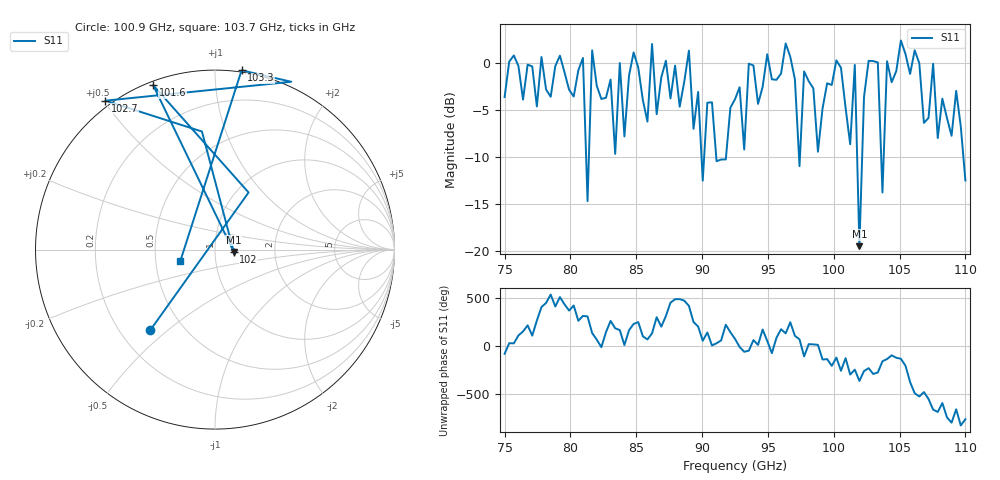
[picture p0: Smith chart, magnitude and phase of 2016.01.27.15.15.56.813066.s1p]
!Created with skrf (http://scikit-rf.org).
# GHz S RI R 50.0
!freq ReS11 ImS11
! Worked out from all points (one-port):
!   101 points, 75 GHz to 110 GHz, reference 50 ohm
!   lowest |S11| = -19.5 dB at 102 GHz (marker M1), VSWR 1.24, Z = 61.7 - j1.62 ohm
!   |S11| at or under -10 dB: 81.19191 GHz to 81.40266 GHz (210.8 MHz wide, 0.259 % of centre); 89.95617 GHz to 90.15677 GHz (200.6 MHz wide, 0.223 % of centre); 91.07 GHz to 91.82 GHz (743 MHz wide, 0.813 % of centre) (the widest 3 of 7)
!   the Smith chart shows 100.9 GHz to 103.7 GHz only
!   S11 on the Smith chart (normalised r, x): 100.9 GHz: 0.32, -0.44; 101.6 GHz: 0.02, +0.69; 102 GHz: 1.23, -0.03; 102.7 GHz: -0.02, +0.51; 103.3 GHz: -0.01, +1.16; 103.7 GHz: 0.67, -0.09
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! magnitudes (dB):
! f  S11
! 75 GHz  -3.6
! 79.55 GHz  -1.0
! 80.95 GHz  0.6
! 81.3 GHz  -14.7
! 81.65 GHz  1.4
! 83.4 GHz  -9.7
! 83.75 GHz  0.0
! 84.1 GHz  -7.8
! 84.8 GHz  1.2
! 88.3 GHz  -4.6
! 89 GHz  1.3
! 90.05 GHz  -12.5
! 92.5 GHz  -3.8
! 97.05 GHz  -1.7
! 97.4 GHz  -11.0
! 97.75 GHz  -0.9
! 98.8 GHz  -9.4
! 100.9 GHz  -4.8
! 101.2 GHz  -8.7
! 101.6 GHz  -0.2
! 102 GHz  -19.5
! 102.7 GHz  0.3
! 103.3 GHz  0.1
! 103.7 GHz  -13.8
! 104 GHz  0.2
! 105.8 GHz  -1.1
! 109.3 GHz  -3.0
! 110 GHz  -12.5
